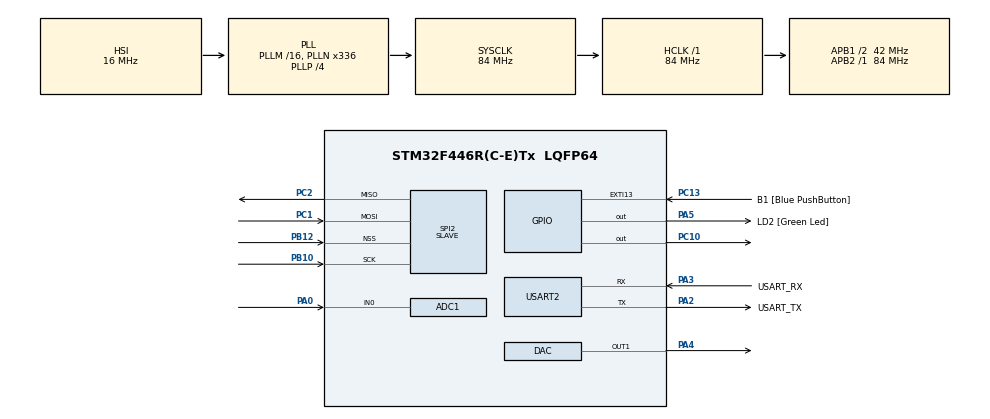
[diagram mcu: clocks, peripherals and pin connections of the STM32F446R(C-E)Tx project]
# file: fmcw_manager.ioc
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ADC1.Channel-1\#ChannelRegularConversion=ADC_CHANNEL_0
ADC1.ContinuousConvMode=ENABLE
ADC1.DMAContinuousRequests=ENABLE
ADC1.ExternalTrigConv=ADC_SOFTWARE_START
ADC1.NbrOfConversionFlag=1
ADC1.Rank-1\#ChannelRegularConversion=1
ADC1.SamplingTime-1\#ChannelRegularConversion=ADC_SAMPLETIME_56CYCLES
ADC1.master=1
DAC.DAC_Trigger=DAC_TRIGGER_T6_TRGO
Dma.ADC1.1.Direction=DMA_PERIPH_TO_MEMORY
Dma.ADC1.1.FIFOMode=DMA_FIFOMODE_DISABLE
Dma.ADC1.1.Instance=DMA2_Stream0
Dma.ADC1.1.MemDataAlignment=DMA_MDATAALIGN_HALFWORD
Dma.ADC1.1.MemInc=DMA_MINC_ENABLE
Dma.ADC1.1.Mode=DMA_CIRCULAR
Dma.ADC1.1.PeriphDataAlignment=DMA_PDATAALIGN_HALFWORD
Dma.ADC1.1.PeriphInc=DMA_PINC_DISABLE
Dma.ADC1.1.Priority=DMA_PRIORITY_LOW
Dma.DAC1.2.Direction=DMA_MEMORY_TO_PERIPH
Dma.DAC1.2.FIFOMode=DMA_FIFOMODE_DISABLE
Dma.DAC1.2.Instance=DMA1_Stream5
Dma.DAC1.2.MemDataAlignment=DMA_MDATAALIGN_HALFWORD
Dma.DAC1.2.MemInc=DMA_MINC_ENABLE
Dma.DAC1.2.Mode=DMA_CIRCULAR
Dma.DAC1.2.PeriphDataAlignment=DMA_PDATAALIGN_HALFWORD
Dma.DAC1.2.PeriphInc=DMA_PINC_DISABLE
Dma.DAC1.2.Priority=DMA_PRIORITY_LOW
Dma.Request0=SPI2_TX
Dma.Request1=ADC1
Dma.Request2=DAC1
Dma.SPI2_TX.0.Direction=DMA_MEMORY_TO_PERIPH
Dma.SPI2_TX.0.FIFOMode=DMA_FIFOMODE_DISABLE
Dma.SPI2_TX.0.Instance=DMA1_Stream4
Dma.SPI2_TX.0.MemDataAlignment=DMA_MDATAALIGN_HALFWORD
Dma.SPI2_TX.0.MemInc=DMA_MINC_ENABLE
Dma.SPI2_TX.0.Mode=DMA_NORMAL
Dma.SPI2_TX.0.PeriphDataAlignment=DMA_PDATAALIGN_HALFWORD
Dma.SPI2_TX.0.PeriphInc=DMA_PINC_DISABLE
Dma.SPI2_TX.0.Priority=DMA_PRIORITY_LOW
Mcu.Family=STM32F4
Mcu.Name=STM32F446R(C-E)Tx
Mcu.Package=LQFP64
NVIC.DMA1_Stream4_IRQn=true\:0\:0\:false\:false\:true\:false\:true\:true
NVIC.DMA1_Stream5_IRQn=true\:0\:0\:false\:false\:true\:false\:true\:true
NVIC.DMA2_Stream0_IRQn=true\:0\:0\:false\:false\:true\:false\:true\:true
NVIC.PriorityGroup=NVIC_PRIORITYGROUP_0
PA0-WKUP.Signal=ADCx_IN0
PA13.GPIO_Label=TMS
PA13.Mode=Serial_Wire
PA13.Signal=SYS_JTMS-SWDIO
PA14.GPIO_Label=TCK
PA14.Mode=Serial_Wire
PA14.Signal=SYS_JTCK-SWCLK
PA2.GPIO_Label=USART_TX
PA2.Mode=Asynchronous
PA2.Signal=USART2_TX
PA3.GPIO_Label=USART_RX
PA3.Mode=Asynchronous
PA3.Signal=USART2_RX
PA4.Signal=COMP_DAC1_group
PA5.GPIO_Label=LD2 [Green Led]
PA5.Signal=GPIO_Output
PB10.Mode=Full_Duplex_Slave
PB10.Signal=SPI2_SCK
PB12.Mode=NSS_Signal_Hard_Input
PB12.Signal=SPI2_NSS
PB3.GPIO_Label=SWO
PB3.Signal=SYS_JTDO-SWO
PC1.Mode=Full_Duplex_Slave
PC1.Signal=SPI2_MOSI
PC10.Signal=GPIO_Output
PC13.GPIO_Label=B1 [Blue PushButton]
PC13.GPIO_ModeDefaultEXTI=GPIO_MODE_IT_FALLING
PC13.Signal=GPXTI13
PC14-OSC32_IN.Mode=LSE-External-Oscillator
PC14-OSC32_IN.Signal=RCC_OSC32_IN
PC15-OSC32_OUT.Mode=LSE-External-Oscillator
PC15-OSC32_OUT.Signal=RCC_OSC32_OUT
PC2.Mode=Full_Duplex_Slave
PC2.Signal=SPI2_MISO
PH0-OSC_IN.Mode=HSE-External-Oscillator
PH0-OSC_IN.Signal=RCC_OSC_IN
PH1-OSC_OUT.Mode=HSE-External-Oscillator
PH1-OSC_OUT.Signal=RCC_OSC_OUT
ProjectManager.HeapSize=0x200
ProjectManager.StackSize=0x400
ProjectManager.TargetToolchain=STM32CubeIDE
RCC.48MHZClocksFreq_Value=84000000
RCC.AHBFreq_Value=84000000
RCC.APB1CLKDivider=RCC_HCLK_DIV2
RCC.APB1Freq_Value=42000000
RCC.APB1TimFreq_Value=84000000
RCC.APB2Freq_Value=84000000
RCC.APB2TimFreq_Value=84000000
RCC.CortexFreq_Value=84000000
RCC.FLatency-AdvancedSettings=FLASH_LATENCY_2
RCC.HCLKFreq_Value=84000000
RCC.HSE_VALUE=8000000
RCC.HSI_VALUE=16000000
RCC.PLLN=336
RCC.PLLP=RCC_PLLP_DIV4
RCC.SYSCLKFreq_VALUE=84000000
RCC.SYSCLKSource=RCC_SYSCLKSOURCE_PLLCLK
RCC.USBFreq_Value=168000000
RCC.VCOOutputFreq_Value=336000000
SH.ADCx_IN0.0=ADC1_IN0,IN0
SH.COMP_DAC1_group.0=DAC_OUT1,DAC_OUT1
SPI2.DataSize=SPI_DATASIZE_16BIT
SPI2.Direction=SPI_DIRECTION_2LINES
SPI2.Mode=SPI_MODE_SLAVE
SPI2.VirtualNSS=VM_NSSHARD
SPI2.VirtualType=VM_SLAVE
TIM6.Period=117
TIM6.TIM_MasterOutputTrigger=TIM_TRGO_UPDATE
USART2.VirtualMode=VM_ASYNC
VP_TIM6_VS_ClockSourceINT.Mode=Enable_Timer
board=NUCLEO-F446RE

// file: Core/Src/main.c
/* USER CODE BEGIN Header */
/**
  ******************************************************************************
  * @file           : main.c
  * @brief          : Main program body
  ******************************************************************************
  * @attention
  *
  * Copyright (c) 2025 STMicroelectronics.
  * All rights reserved.
  *
  * This software is licensed under terms that can be found in the LICENSE file
  * in the root directory of this software component.
  * If no LICENSE file comes with this software, it is provided AS-IS.
  *
  ******************************************************************************
  */
/* USER CODE END Header */
#include "main.h"
#include "adc.h"
#include "dac.h"
#include "dma.h"
#include "spi.h"
#include "tim.h"
#include "usart.h"
#include "gpio.h"

/* USER CODE BEGIN PV */
uint16_t buffer[PI_SPI_LENGTH*2];
uint16_t* halfway_pt = buffer + PI_SPI_LENGTH;

uint16_t tune[2000];
/* USER CODE END PV */

void SystemClock_Config(void);

int main(void)
{

  /* USER CODE BEGIN 1 */
	//initialize  buffers
	//sized such that a trigger under 1 MHz will let us sweep 0.4 to 2.4V in ~0.5-1ms
	for(uint16_t i = 0; i < 579*2; i++) {

		if(i < 579) {
			tune[i] = 941 + 3*i;
		} else {
			tune[i] = 2679 - 3*(i - 579);
		}

	}

  /* USER CODE END 1 */

  /* MCU Configuration--------------------------------------------------------*/

  /* Reset of all peripherals, Initializes the Flash interface and the Systick. */
  HAL_Init();

  /* Configure the system clock */
  SystemClock_Config();

  /* Initialize all configured peripherals */
  MX_GPIO_Init();
  MX_DMA_Init();
  MX_ADC1_Init();
  MX_SPI2_Init();
  MX_USART2_UART_Init();
  MX_DAC_Init();
  MX_TIM6_Init();
  /* USER CODE BEGIN 2 */
  for(int i = 0; i < 12; i++) {
  	  HAL_GPIO_TogglePin(GPIOC, GPIO_PIN_10);
  	  HAL_Delay(250);
    }

  //buffer decays to ptr, call start adc dma on adc1
  HAL_ADC_Start_DMA(&hadc1, (uint32_t*) buffer, PI_SPI_LENGTH*2);
  HAL_DAC_Start_DMA(&hdac, DAC_CHANNEL_1, (uint32_t*) tune, 579*2, DAC_ALIGN_12B_R);
  //84/118 = 0.711MHz timer
  HAL_TIM_Base_Start(&htim6);

  /* USER CODE END 2 */

  /* Infinite loop */
  while (1)
  {

  }
}

void SystemClock_Config(void)
{
  RCC_OscInitTypeDef RCC_OscInitStruct = {0};
  RCC_ClkInitTypeDef RCC_ClkInitStruct = {0};

  /** Configure the main internal regulator output voltage
  */
  __HAL_RCC_PWR_CLK_ENABLE();
  __HAL_PWR_VOLTAGESCALING_CONFIG(PWR_REGULATOR_VOLTAGE_SCALE3);

  /** Initializes the RCC Oscillators according to the specified parameters
  * in the RCC_OscInitTypeDef structure.
  */
  RCC_OscInitStruct.OscillatorType = RCC_OSCILLATORTYPE_HSI;
  RCC_OscInitStruct.HSIState = RCC_HSI_ON;
  RCC_OscInitStruct.HSICalibrationValue = RCC_HSICALIBRATION_DEFAULT;
  RCC_OscInitStruct.PLL.PLLState = RCC_PLL_ON;
  RCC_OscInitStruct.PLL.PLLSource = RCC_PLLSOURCE_HSI;
  RCC_OscInitStruct.PLL.PLLM = 16;
  RCC_OscInitStruct.PLL.PLLN = 336;
  RCC_OscInitStruct.PLL.PLLP = RCC_PLLP_DIV4;
  RCC_OscInitStruct.PLL.PLLQ = 2;
  RCC_OscInitStruct.PLL.PLLR = 2;
  if (HAL_RCC_OscConfig(&RCC_OscInitStruct) != HAL_OK)
  {
    Error_Handler();
  }

  /** Initializes the CPU, AHB and APB buses clocks
  */
  RCC_ClkInitStruct.ClockType = RCC_CLOCKTYPE_HCLK|RCC_CLOCKTYPE_SYSCLK
                              |RCC_CLOCKTYPE_PCLK1|RCC_CLOCKTYPE_PCLK2;
  RCC_ClkInitStruct.SYSCLKSource = RCC_SYSCLKSOURCE_PLLCLK;
  RCC_ClkInitStruct.AHBCLKDivider = RCC_SYSCLK_DIV1;
  RCC_ClkInitStruct.APB1CLKDivider = RCC_HCLK_DIV2;
  RCC_ClkInitStruct.APB2CLKDivider = RCC_HCLK_DIV1;

  if (HAL_RCC_ClockConfig(&RCC_ClkInitStruct, FLASH_LATENCY_2) != HAL_OK)
  {
    Error_Handler();
  }
}

/* USER CODE BEGIN 4 */

void HAL_ADC_ConvHalfCpltCallback(ADC_HandleTypeDef* hadc)
{
    if (hadc->Instance == ADC1)
    {
        // push first half of buffer to spi2
    	buffer[0] = 100*256+1;
		HAL_SPI_Transmit_DMA(&hspi2, (uint8_t*) buffer, PI_SPI_LENGTH);

    }
}

void HAL_ADC_ConvCpltCallback(ADC_HandleTypeDef* hadc)
{
    if (hadc->Instance == ADC1)
    {
        // Second half of adc_buffer is ready, push to spi2
    	halfway_pt[0] = 100*256+1;
    	HAL_SPI_Transmit_DMA(&hspi2, (uint8_t*) halfway_pt, PI_SPI_LENGTH);

  }
}

/* USER CODE END 4 */

void Error_Handler(void)
{
  __disable_irq();
  while (1)
  {
  }
}
